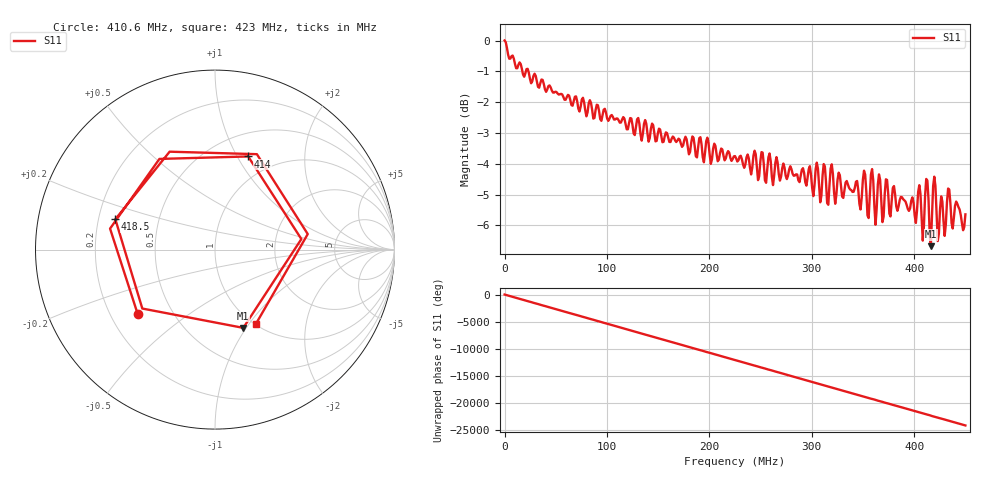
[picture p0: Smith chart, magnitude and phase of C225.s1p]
! NanoVNA-App
! Date: 2026-09-29 13:57:58
! Start: 50kHz Stop: 450MHz Points: 401
! S-Parameter data: F S11
# Hz S RI R 50
!  Frequency  S11_Real  S11_Imag
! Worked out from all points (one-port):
!   401 points, 50 kHz to 450 MHz, reference 50 ohm
!   lowest |S11| = -6.7 dB at 416.3 MHz (marker M1), VSWR 2.73, Z = 43.6 - j48.5 ohm
!   |S11| at or under -10 dB: nowhere
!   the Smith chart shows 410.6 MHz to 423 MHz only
!   S11 on the Smith chart (normalised r, x): 410.6 MHz: 0.32, -0.33; 414 MHz: 0.75, +1.11; 418.5 MHz: 0.27, +0.14; 423 MHz: 1.01, -1.08
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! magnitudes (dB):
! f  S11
! 50 kHz  0.0
! 18.05 MHz  -1.1
! 56.29 MHz  -1.7
! 112.5 MHz  -2.7
! 168.8 MHz  -3.2
! 225 MHz  -3.7
! 281.3 MHz  -4.3
! 337.5 MHz  -4.8
! 347.6 MHz  -5.5
! 351 MHz  -4.2
! 355.5 MHz  -5.8
! 358.9 MHz  -4.2
! 362.3 MHz  -6.0
! 365.6 MHz  -4.3
! 369 MHz  -5.9
! 373.5 MHz  -4.5
! 393.8 MHz  -5.5
! 408.4 MHz  -6.5
! 410.6 MHz  -5.0
! 414 MHz  -5.2
! 416.3 MHz  -6.7
! 418.5 MHz  -4.7
! 419.6 MHz  -4.4
! 423 MHz  -6.5
! 434.3 MHz  -4.8
! 437.6 MHz  -6.1
! 442.1 MHz  -5.3
! 450 MHz  -5.6
